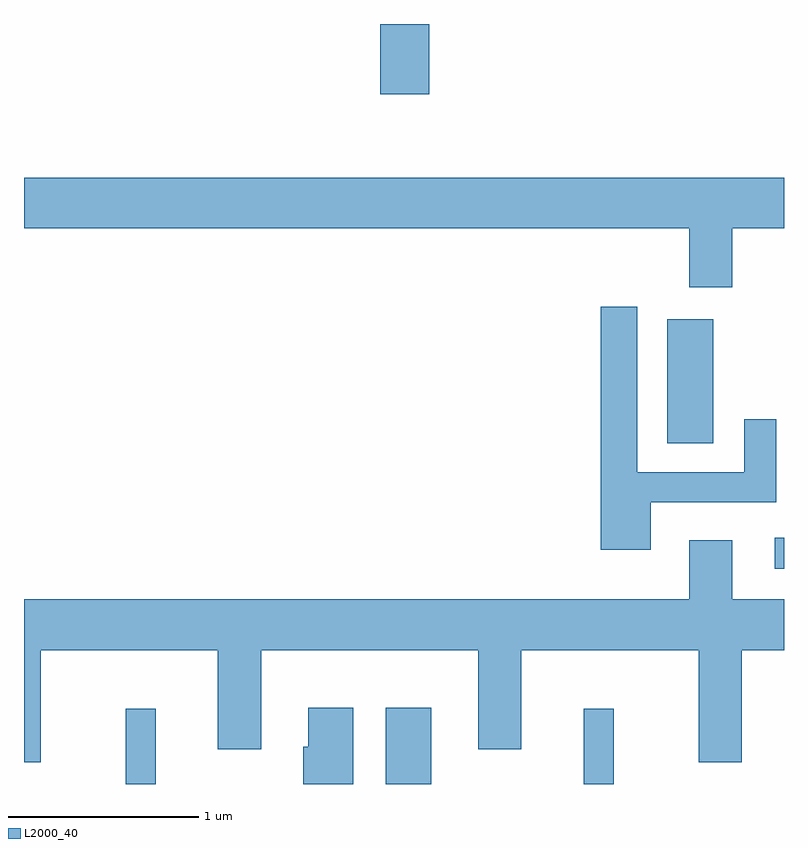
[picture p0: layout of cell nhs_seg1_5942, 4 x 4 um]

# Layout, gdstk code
import gdstk
lib = gdstk.Library(unit=1e-6, precision=1e-09)
def R(c, l, rs):  # rectangles x0, y0, x1, y1
    for r in rs: c.add(gdstk.rectangle(r[:2], r[2:], *l))
def P(c, l, *ps):  # polygons
    for p in ps: c.add(gdstk.Polygon(p, *l))
L2000_40 = (2000, 40)

nhs_seg1_5942 = lib.new_cell('nhs_seg1_5942')
R(nhs_seg1_5942, L2000_40, [(364.146,947.712,364.304,948.108), (365.516,947.712,365.754,948.114), (366.556,947.712,366.714,948.108), (367.563,948.846,367.611,949.009), (366.996,949.506,367.239,950.159), (365.486,951.341,365.744,951.712)])
P(nhs_seg1_5942, L2000_40, [(367.339,950.636),(367.611,950.636),(367.611,950.904),(363.611,950.904),(363.611,950.636),(367.111,950.636),(367.111,950.326),(367.339,950.326)],
  [(366.909,949.196),(367.569,949.196),(367.569,949.633),(367.401,949.633),(367.401,949.354),(366.839,949.354),(366.839,950.224),(366.646,950.224),(366.646,948.946),(366.909,948.946)],
  [(363.699,948.416),(364.631,948.416),(364.631,947.896),(364.859,947.896),(364.859,948.416),(366.001,948.416),(366.001,947.896),(366.229,947.896),(366.229,948.416),(367.161,948.416),(367.161,947.826),(367.389,947.826),(367.389,948.416),(367.611,948.416),(367.611,948.684),(367.339,948.684),(367.339,948.994),(367.111,948.994),(367.111,948.684),(363.611,948.684),(363.611,947.826),(363.699,947.826)],
  [(365.344,948.114),(365.106,948.114),(365.106,947.909),(365.081,947.909),(365.081,947.712),(365.344,947.712)])

lib.write_gds('nhs_seg1_5942.gds')
